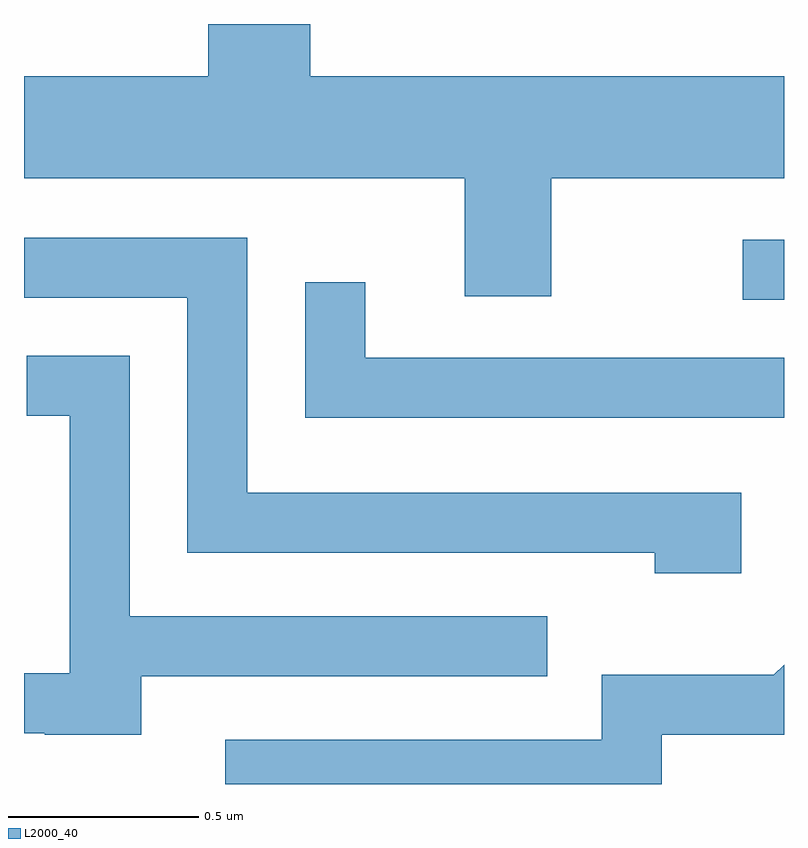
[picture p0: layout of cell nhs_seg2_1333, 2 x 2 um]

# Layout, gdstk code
import gdstk
lib = gdstk.Library(unit=1e-6, precision=1e-09)
def R(c, l, rs):  # rectangles x0, y0, x1, y1
    for r in rs: c.add(gdstk.rectangle(r[:2], r[2:], *l))
def P(c, l, *ps):  # polygons
    for p in ps: c.add(gdstk.Polygon(p, *l))
L2000_40 = (2000, 40)

nhs_seg2_1333 = lib.new_cell('nhs_seg2_1333')
R(nhs_seg2_1333, L2000_40, [(196.503,1079.076,196.611,1079.234)])
P(nhs_seg2_1333, L2000_40, [(195.999,1079.396),(196.611,1079.396),(196.611,1079.664),(195.364,1079.664),(195.364,1079.802),(195.096,1079.802),(195.096,1079.664),(194.611,1079.664),(194.611,1079.396),(195.771,1079.396),(195.771,1079.086),(195.999,1079.086)],
  [(196.499,1078.569),(195.199,1078.569),(195.199,1079.239),(194.611,1079.239),(194.611,1079.081),(195.041,1079.081),(195.041,1078.411),(196.271,1078.411),(196.271,1078.356),(196.499,1078.356)],
  [(196.611,1078.924),(195.509,1078.924),(195.509,1079.123),(195.351,1079.123),(195.351,1078.766),(196.611,1078.766)],
  [(194.919,1078.086),(195.988,1078.086),(195.988,1078.244),(194.889,1078.244),(194.889,1078.929),(194.618,1078.929),(194.618,1078.771),(194.731,1078.771),(194.731,1078.094),(194.611,1078.094),(194.611,1077.936),(194.665,1077.936),(194.665,1077.931),(194.919,1077.931)],
  [(196.289,1077.931),(196.611,1077.931),(196.611,1078.116),(196.584,1078.089),(196.131,1078.089),(196.131,1077.919),(195.141,1077.919),(195.141,1077.802),(196.289,1077.802)])

lib.write_gds('nhs_seg2_1333.gds')
